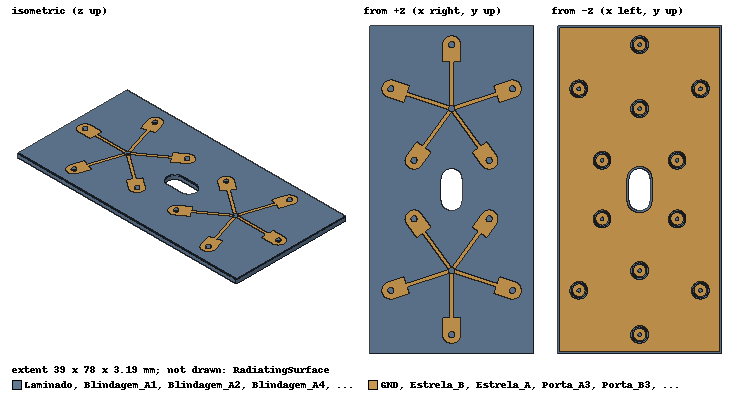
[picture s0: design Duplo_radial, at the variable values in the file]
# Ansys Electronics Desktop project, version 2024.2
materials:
  vacuum: permittivity=1
  ZYF255DA: permittivity=2.55 dielectric_loss_tangent=0.0018
  SAC305: permeability=1 conductivity=7575758
  PTFE_UT141: permittivity=2.036 dielectric_loss_tangent=0.0002
  copper: permeability=0.999991 conductivity=58000000

design Duplo_radial (HFSS, HFSS Hybrid Modal Network, model units mm)
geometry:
  Laminado [ZYF255DA] = box(corner=(-19.5mm, -39mm, 0mm), size=(39mm, 78mm, 1.52mm))
  GND = polyline(z=0mm, xy in mm: (-18.98, -38.48) (18.98, -38.48) (18.98, 38.48) (-18.98, 38.48) (-18.98, -38.48), closed, covered)
  Estrela_B = polyline(z=1.52mm, xy in mm: (-7.87058583, 5.11047264) (-8.12017683, 4.98738798) (-8.38369832, 4.89793449) (-8.65664136, 4.84364274) (-8.93433583, 4.82544169) (-9.21203031, 4.84364274) (-9.48497335, 4.89793449) (-9.74849484, 4.98738798) (-9.99808583, 5.11047264) (-10.22947578, 5.26508245) (-10.43870551, 5.44857201) (-10.62219507, 5.65780175) (-10.77680488, 5.88919169) (-10.89988954, 6.13878268) (-10.98934303, 6.40230417) (-11.04363478, 6.67524721) (-11.06183583, 6.95294169) (-11.04363478, 7.23063616) (-10.98934303, 7.5035792) (-10.89988954, 7.76710069) (-10.77680488, 8.01669169) (-10.65315945, 8.20174014) (-10.65551949, 8.20345481) (-8.33435553, 11.39826292) (-6.96428525, 10.4028486) (-0.78686557, 18.90533735) (-0.7945364, 18.92089225) (-0.83069621, 19.02741562) (-0.83838573, 19.06607343) (-10.83445024, 22.31399168) (-11.35777052, 20.70337747) (-15.1134927, 21.92368558) (-15.1121413, 21.92784478) (-15.27021805, 21.98150461) (-15.51980905, 22.10458927) (-15.75119899, 22.25919908) (-15.96042872, 22.44268864) (-16.14391828, 22.65191837) (-16.29852809, 22.88330831) (-16.42161275, 23.13289931) (-16.51106624, 23.3964208) (-16.56535799, 23.66936384) (-16.58355905, 23.94705831) (-16.56535799, 24.22475279) (-16.51106624, 24.49769583) (-16.42161275, 24.76121732) (-16.29852809, 25.01080831) (-16.14391828, 25.24219825) (-15.96042872, 25.45142799) (-15.75119899, 25.63491755) (-15.51980905, 25.78952736) (-15.27021805, 25.91261202) (-15.00669657, 26.00206551) (-14.73375352, 26.05635726) (-14.45605905, 26.07455831) (-14.17836457, 26.05635726) (-13.90542153, 26.00206551) (-13.7999768, 25.96627185) (-13.79862539, 25.97043105) (-10.04290321, 24.75012294) (-10.56622349, 23.13950873) (-0.56999682, 19.8915378) (-0.52353483, 19.93228387) (-0.434, 19.99210913) (-0.434, 30.501) (-2.1275, 30.501) (-2.1275, 34.45) (-2.10929894, 34.72769447) (-2.0550072, 35.00063752) (-1.96555371, 35.264159) (-1.84246905, 35.51375) (-1.68785923, 35.74513994) (-1.50436968, 35.95436968) (-1.29513994, 36.13785923) (-1.06375, 36.29246905) (-0.814159, 36.41555371) (-0.55063752, 36.5050072) (-0.27769447, 36.55929894) (0, 36.5775) (0.27769447, 36.55929894) (0.55063752, 36.5050072) (0.814159, 36.41555371) (1.06375, 36.29246905) (1.29513994, 36.13785923) (1.50436968, 35.95436968) (1.68785923, 35.74513994) (1.84246905, 35.51375) (1.96555371, 35.264159) (2.0550072, 35.00063752) (2.10929894, 34.72769447) (2.1275, 34.45) (2.1275, 30.501) (0.434, 30.501) (0.434, 19.99210913) (0.52353483, 19.93228387) (0.56999682, 19.8915378) (10.56622349, 23.13950873) (10.04290321, 24.75012294) (13.79862539, 25.97043105) (13.7999768, 25.96627185) (13.90542153, 26.00206551) (14.17836457, 26.05635726) (14.45605905, 26.07455831) (14.73375352, 26.05635726) (15.00669657, 26.00206551) (15.27021805, 25.91261202) (15.51980905, 25.78952736) (15.75119899, 25.63491755) (15.96042872, 25.45142799) (16.14391828, 25.24219825) (16.29852809, 25.01080831) (16.42161275, 24.76121732) (16.51106624, 24.49769583) (16.56535799, 24.22475279) (16.58355905, 23.94705831) (16.56535799, 23.66936384) (16.51106624, 23.3964208) (16.42161275, 23.13289931) (16.29852809, 22.88330831) (16.14391828, 22.65191837) (15.96042872, 22.44268864) (15.75119899, 22.25919908) (15.51980905, 22.10458927) (15.27021805, 21.98150461) (15.1121413, 21.92784478) (15.1134927, 21.92368558) (11.35777052, 20.70337747) (10.83445024, 22.31399168) (0.83838573, 19.06607343) (0.83069621, 19.02741562) (0.7945364, 18.92089225) (0.78686557, 18.90533735) (6.96428525, 10.4028486) (8.33435553, 11.39826292) (10.65551949, 8.20345481) (10.65315945, 8.20174014) (10.77680488, 8.01669169) (10.89988954, 7.76710069) (10.98934303, 7.5035792) (11.04363478, 7.23063616) (11.06183583, 6.95294169) (11.04363478, 6.67524721) (10.98934303, 6.40230417) (10.89988954, 6.13878268) (10.77680488, 5.88919169) (10.62219507, 5.65780175) (10.43870551, 5.44857201) (10.22947578, 5.26508245) (9.99808583, 5.11047264) (9.74849484, 4.98738798) (9.48497335, 4.89793449) (9.21203031, 4.84364274) (8.93433583, 4.82544169) (8.65664136, 4.84364274) (8.38369832, 4.89793449) (8.12017683, 4.98738798) (7.87058583, 5.11047264) (7.63919589, 5.26508245) (7.42996616, 5.44857201) (7.2464766, 5.65780175) (7.21551221, 5.70414323) (7.21315218, 5.70242856) (4.89198822, 8.89723667) (6.2620585, 9.892651) (0.08435603, 18.39552899) (0, 18.39) (-0.08435603, 18.39552899) (-6.2620585, 9.892651) (-4.89198822, 8.89723667) (-7.21315218, 5.70242856) (-7.21551221, 5.70414323) (-7.2464766, 5.65780175) (-7.42996616, 5.44857201) (-7.63919589, 5.26508245) (-7.87058583, 5.11047264), closed, covered)
  Estrela_A = polyline(z=1.52mm, xy in mm: (-0.434, -19.99210913) (-0.52353483, -19.93228387) (-0.56999682, -19.8915378) (-10.56622349, -23.13950873) (-10.04290321, -24.75012294) (-13.79862539, -25.97043105) (-13.7999768, -25.96627185) (-13.90542153, -26.00206551) (-14.17836457, -26.05635726) (-14.45605905, -26.07455831) (-14.73375352, -26.05635726) (-15.00669657, -26.00206551) (-15.27021805, -25.91261202) (-15.51980905, -25.78952736) (-15.75119899, -25.63491755) (-15.96042872, -25.45142799) (-16.14391828, -25.24219825) (-16.29852809, -25.01080831) (-16.42161275, -24.76121732) (-16.51106624, -24.49769583) (-16.56535799, -24.22475279) (-16.58355905, -23.94705831) (-16.56535799, -23.66936384) (-16.51106624, -23.3964208) (-16.42161275, -23.13289931) (-16.29852809, -22.88330831) (-16.14391828, -22.65191837) (-15.96042872, -22.44268864) (-15.75119899, -22.25919908) (-15.51980905, -22.10458927) (-15.27021805, -21.98150461) (-15.1121413, -21.92784478) (-15.1134927, -21.92368558) (-11.35777052, -20.70337747) (-10.83445024, -22.31399168) (-0.83838573, -19.06607343) (-0.83069621, -19.02741562) (-0.7945364, -18.92089225) (-0.78686557, -18.90533735) (-6.96428525, -10.4028486) (-8.33435553, -11.39826292) (-10.65551949, -8.20345481) (-10.65315945, -8.20174014) (-10.77680488, -8.01669169) (-10.89988954, -7.76710069) (-10.98934303, -7.5035792) (-11.04363478, -7.23063616) (-11.06183583, -6.95294169) (-11.04363478, -6.67524721) (-10.98934303, -6.40230417) (-10.89988954, -6.13878268) (-10.77680488, -5.88919169) (-10.62219507, -5.65780175) (-10.43870551, -5.44857201) (-10.22947578, -5.26508245) (-9.99808583, -5.11047264) (-9.74849484, -4.98738798) (-9.48497335, -4.89793449) (-9.21203031, -4.84364274) (-8.93433583, -4.82544169) (-8.65664136, -4.84364274) (-8.38369832, -4.89793449) (-8.12017683, -4.98738798) (-7.87058583, -5.11047264) (-7.63919589, -5.26508245) (-7.42996616, -5.44857201) (-7.2464766, -5.65780175) (-7.21551221, -5.70414323) (-7.21315218, -5.70242856) (-4.89198822, -8.89723667) (-6.2620585, -9.892651) (-0.08435603, -18.39552899) (0, -18.39) (0.08435603, -18.39552899) (6.2620585, -9.892651) (4.89198822, -8.89723667) (7.21315218, -5.70242856) (7.21551221, -5.70414323) (7.2464766, -5.65780175) (7.42996616, -5.44857201) (7.63919589, -5.26508245) (7.87058583, -5.11047264) (8.12017683, -4.98738798) (8.38369832, -4.89793449) (8.65664136, -4.84364274) (8.93433583, -4.82544169) (9.21203031, -4.84364274) (9.48497335, -4.89793449) (9.74849484, -4.98738798) (9.99808583, -5.11047264) (10.22947578, -5.26508245) (10.43870551, -5.44857201) (10.62219507, -5.65780175) (10.77680488, -5.88919169) (10.89988954, -6.13878268) (10.98934303, -6.40230417) (11.04363478, -6.67524721) (11.06183583, -6.95294169) (11.04363478, -7.23063616) (10.98934303, -7.5035792) (10.89988954, -7.76710069) (10.77680488, -8.01669169) (10.65315945, -8.20174014) (10.65551949, -8.20345481) (8.33435553, -11.39826292) (6.96428525, -10.4028486) (0.78686557, -18.90533735) (0.7945364, -18.92089225) (0.83069621, -19.02741562) (0.83838573, -19.06607343) (10.83445024, -22.31399168) (11.35777052, -20.70337747) (15.1134927, -21.92368558) (15.1121413, -21.92784478) (15.27021805, -21.98150461) (15.51980905, -22.10458927) (15.75119899, -22.25919908) (15.96042872, -22.44268864) (16.14391828, -22.65191837) (16.29852809, -22.88330831) (16.42161275, -23.13289931) (16.51106624, -23.3964208) (16.56535799, -23.66936384) (16.58355905, -23.94705831) (16.56535799, -24.22475279) (16.51106624, -24.49769583) (16.42161275, -24.76121732) (16.29852809, -25.01080831) (16.14391828, -25.24219825) (15.96042872, -25.45142799) (15.75119899, -25.63491755) (15.51980905, -25.78952736) (15.27021805, -25.91261202) (15.00669657, -26.00206551) (14.73375352, -26.05635726) (14.45605905, -26.07455831) (14.17836457, -26.05635726) (13.90542153, -26.00206551) (13.7999768, -25.96627185) (13.79862539, -25.97043105) (10.04290321, -24.75012294) (10.56622349, -23.13950873) (0.56999682, -19.8915378) (0.52353483, -19.93228387) (0.434, -19.99210913) (0.434, -30.501) (2.1275, -30.501) (2.1275, -34.45) (2.10929894, -34.72769447) (2.0550072, -35.00063752) (1.96555371, -35.264159) (1.84246905, -35.51375) (1.68785923, -35.74513994) (1.50436968, -35.95436968) (1.29513994, -36.13785923) (1.06375, -36.29246905) (0.814159, -36.41555371) (0.55063752, -36.5050072) (0.27769447, -36.55929894) (0, -36.5775) (-0.27769447, -36.55929894) (-0.55063752, -36.5050072) (-0.814159, -36.41555371) (-1.06375, -36.29246905) (-1.29513994, -36.13785923) (-1.50436968, -35.95436968) (-1.68785923, -35.74513994) (-1.84246905, -35.51375) (-1.96555371, -35.264159) (-2.0550072, -35.00063752) (-2.10929894, -34.72769447) (-2.1275, -34.45) (-2.1275, -30.501) (-0.434, -30.501) (-0.434, -19.99210913), closed, covered)
  Abertura_A_IN = circle(normal=Z, centre=(0mm, -19.25mm, 0mm), radius=1.515mm, segments=24)
  Pino_A_IN [copper] = cylinder(axis=Z, base_centre=(0mm, -19.25mm, 0mm), radius=0.525mm, height=1.52mm, segments=24)
  Anel_A_IN = circle(normal=Z, centre=(0mm, -19.25mm, 0mm), radius=0.73mm, segments=24)
  Blindagem_A_IN [copper] = cylinder(axis=Z, base_centre=(0mm, -19.25mm, -1.5mm), radius=1.7905mm, height=1.5mm, segments=24)
  PTFE_A_IN [PTFE_UT141] = cylinder(axis=Z, base_centre=(0mm, -19.25mm, -1.5mm), radius=1.515mm, height=1.5mm, segments=24)
  PTFE_A_IN_1 = PTFE_A_IN.copy()
  Blindagem_A_IN.subtract(PTFE_A_IN_1)
  Central_A_IN [copper] = cylinder(axis=Z, base_centre=(0mm, -19.25mm, -1.5mm), radius=0.45975mm, height=1.5mm, segments=24)
  Central_A_IN_1 = Central_A_IN.copy()
  PTFE_A_IN.subtract(Central_A_IN_1)
  Solda_ext_A_IN [SAC305] = cylinder(axis=Z, base_centre=(0mm, -19.25mm, -0.18mm), radius=2.13mm, height=0.18mm, segments=24)
  Recorte_ext_A_IN = cylinder(axis=Z, base_centre=(0mm, -19.25mm, -0.18mm), radius=1.7905mm, height=0.18mm, segments=24)
  Solda_ext_A_IN.subtract(Recorte_ext_A_IN)
  Solda_top_A_IN [SAC305] = cylinder(axis=Z, base_centre=(0mm, -19.25mm, 1.52mm), radius=0.74mm, height=0.17mm, segments=24)
  Abertura_A1 = circle(normal=Z, centre=(-14.45605905mm, -23.94705831mm, 0mm), radius=1.515mm, segments=24)
  Pino_A1 [copper] = cylinder(axis=Z, base_centre=(-14.45605905mm, -23.94705831mm, 0mm), radius=0.525mm, height=1.52mm, segments=24)
  Anel_A1 = circle(normal=Z, centre=(-14.45605905mm, -23.94705831mm, 0mm), radius=0.73mm, segments=24)
  Blindagem_A1 [copper] = cylinder(axis=Z, base_centre=(-14.45605905mm, -23.94705831mm, -1.5mm), radius=1.7905mm, height=1.5mm, segments=24)
  PTFE_A1 [PTFE_UT141] = cylinder(axis=Z, base_centre=(-14.45605905mm, -23.94705831mm, -1.5mm), radius=1.515mm, height=1.5mm, segments=24)
  PTFE_A1_1 = PTFE_A1.copy()
  Blindagem_A1.subtract(PTFE_A1_1)
  Central_A1 [copper] = cylinder(axis=Z, base_centre=(-14.45605905mm, -23.94705831mm, -1.5mm), radius=0.45975mm, height=1.5mm, segments=24)
  Central_A1_1 = Central_A1.copy()
  PTFE_A1.subtract(Central_A1_1)
  Solda_ext_A1 [SAC305] = cylinder(axis=Z, base_centre=(-14.45605905mm, -23.94705831mm, -0.18mm), radius=2.13mm, height=0.18mm, segments=24)
  Recorte_ext_A1 = cylinder(axis=Z, base_centre=(-14.45605905mm, -23.94705831mm, -0.18mm), radius=1.7905mm, height=0.18mm, segments=24)
  Solda_ext_A1.subtract(Recorte_ext_A1)
  Solda_top_A1 [SAC305] = cylinder(axis=Z, base_centre=(-14.45605905mm, -23.94705831mm, 1.52mm), radius=0.74mm, height=0.17mm, segments=24)
  Abertura_A2 = circle(normal=Z, centre=(-8.93433583mm, -6.95294169mm, 0mm), radius=1.515mm, segments=24)
  Pino_A2 [copper] = cylinder(axis=Z, base_centre=(-8.93433583mm, -6.95294169mm, 0mm), radius=0.525mm, height=1.52mm, segments=24)
  Anel_A2 = circle(normal=Z, centre=(-8.93433583mm, -6.95294169mm, 0mm), radius=0.73mm, segments=24)
  Blindagem_A2 [copper] = cylinder(axis=Z, base_centre=(-8.93433583mm, -6.95294169mm, -1.5mm), radius=1.7905mm, height=1.5mm, segments=24)
  PTFE_A2 [PTFE_UT141] = cylinder(axis=Z, base_centre=(-8.93433583mm, -6.95294169mm, -1.5mm), radius=1.515mm, height=1.5mm, segments=24)
  PTFE_A2_1 = PTFE_A2.copy()
  Blindagem_A2.subtract(PTFE_A2_1)
  Central_A2 [copper] = cylinder(axis=Z, base_centre=(-8.93433583mm, -6.95294169mm, -1.5mm), radius=0.45975mm, height=1.5mm, segments=24)
  Central_A2_1 = Central_A2.copy()
  PTFE_A2.subtract(Central_A2_1)
  Solda_ext_A2 [SAC305] = cylinder(axis=Z, base_centre=(-8.93433583mm, -6.95294169mm, -0.18mm), radius=2.13mm, height=0.18mm, segments=24)
  Recorte_ext_A2 = cylinder(axis=Z, base_centre=(-8.93433583mm, -6.95294169mm, -0.18mm), radius=1.7905mm, height=0.18mm, segments=24)
  Solda_ext_A2.subtract(Recorte_ext_A2)
  Solda_top_A2 [SAC305] = cylinder(axis=Z, base_centre=(-8.93433583mm, -6.95294169mm, 1.52mm), radius=0.74mm, height=0.17mm, segments=24)
  Abertura_A3 = circle(normal=Z, centre=(0mm, -34.45mm, 0mm), radius=1.515mm, segments=24)
  Pino_A3 [copper] = cylinder(axis=Z, base_centre=(0mm, -34.45mm, 0mm), radius=0.525mm, height=1.52mm, segments=24)
  Anel_A3 = circle(normal=Z, centre=(0mm, -34.45mm, 0mm), radius=0.73mm, segments=24)
  Blindagem_A3 [copper] = cylinder(axis=Z, base_centre=(0mm, -34.45mm, -1.5mm), radius=1.7905mm, height=1.5mm, segments=24)
  PTFE_A3 [PTFE_UT141] = cylinder(axis=Z, base_centre=(0mm, -34.45mm, -1.5mm), radius=1.515mm, height=1.5mm, segments=24)
  PTFE_A3_1 = PTFE_A3.copy()
  Blindagem_A3.subtract(PTFE_A3_1)
  Central_A3 [copper] = cylinder(axis=Z, base_centre=(0mm, -34.45mm, -1.5mm), radius=0.45975mm, height=1.5mm, segments=24)
  Central_A3_1 = Central_A3.copy()
  PTFE_A3.subtract(Central_A3_1)
  Solda_ext_A3 [SAC305] = cylinder(axis=Z, base_centre=(0mm, -34.45mm, -0.18mm), radius=2.13mm, height=0.18mm, segments=24)
  Recorte_ext_A3 = cylinder(axis=Z, base_centre=(0mm, -34.45mm, -0.18mm), radius=1.7905mm, height=0.18mm, segments=24)
  Solda_ext_A3.subtract(Recorte_ext_A3)
  Solda_top_A3 [SAC305] = cylinder(axis=Z, base_centre=(0mm, -34.45mm, 1.52mm), radius=0.74mm, height=0.17mm, segments=24)
  Abertura_A4 = circle(normal=Z, centre=(8.93433583mm, -6.95294169mm, 0mm), radius=1.515mm, segments=24)
  Pino_A4 [copper] = cylinder(axis=Z, base_centre=(8.93433583mm, -6.95294169mm, 0mm), radius=0.525mm, height=1.52mm, segments=24)
  Anel_A4 = circle(normal=Z, centre=(8.93433583mm, -6.95294169mm, 0mm), radius=0.73mm, segments=24)
  Blindagem_A4 [copper] = cylinder(axis=Z, base_centre=(8.93433583mm, -6.95294169mm, -1.5mm), radius=1.7905mm, height=1.5mm, segments=24)
  PTFE_A4 [PTFE_UT141] = cylinder(axis=Z, base_centre=(8.93433583mm, -6.95294169mm, -1.5mm), radius=1.515mm, height=1.5mm, segments=24)
  PTFE_A4_1 = PTFE_A4.copy()
  Blindagem_A4.subtract(PTFE_A4_1)
  Central_A4 [copper] = cylinder(axis=Z, base_centre=(8.93433583mm, -6.95294169mm, -1.5mm), radius=0.45975mm, height=1.5mm, segments=24)
  Central_A4_1 = Central_A4.copy()
  PTFE_A4.subtract(Central_A4_1)
  Solda_ext_A4 [SAC305] = cylinder(axis=Z, base_centre=(8.93433583mm, -6.95294169mm, -0.18mm), radius=2.13mm, height=0.18mm, segments=24)
  Recorte_ext_A4 = cylinder(axis=Z, base_centre=(8.93433583mm, -6.95294169mm, -0.18mm), radius=1.7905mm, height=0.18mm, segments=24)
  Solda_ext_A4.subtract(Recorte_ext_A4)
  Solda_top_A4 [SAC305] = cylinder(axis=Z, base_centre=(8.93433583mm, -6.95294169mm, 1.52mm), radius=0.74mm, height=0.17mm, segments=24)
  Abertura_A5 = circle(normal=Z, centre=(14.45605905mm, -23.94705831mm, 0mm), radius=1.515mm, segments=24)
  Pino_A5 [copper] = cylinder(axis=Z, base_centre=(14.45605905mm, -23.94705831mm, 0mm), radius=0.525mm, height=1.52mm, segments=24)
  Anel_A5 = circle(normal=Z, centre=(14.45605905mm, -23.94705831mm, 0mm), radius=0.73mm, segments=24)
  Blindagem_A5 [copper] = cylinder(axis=Z, base_centre=(14.45605905mm, -23.94705831mm, -1.5mm), radius=1.7905mm, height=1.5mm, segments=24)
  PTFE_A5 [PTFE_UT141] = cylinder(axis=Z, base_centre=(14.45605905mm, -23.94705831mm, -1.5mm), radius=1.515mm, height=1.5mm, segments=24)
  PTFE_A5_1 = PTFE_A5.copy()
  Blindagem_A5.subtract(PTFE_A5_1)
  Central_A5 [copper] = cylinder(axis=Z, base_centre=(14.45605905mm, -23.94705831mm, -1.5mm), radius=0.45975mm, height=1.5mm, segments=24)
  Central_A5_1 = Central_A5.copy()
  PTFE_A5.subtract(Central_A5_1)
  Solda_ext_A5 [SAC305] = cylinder(axis=Z, base_centre=(14.45605905mm, -23.94705831mm, -0.18mm), radius=2.13mm, height=0.18mm, segments=24)
  Recorte_ext_A5 = cylinder(axis=Z, base_centre=(14.45605905mm, -23.94705831mm, -0.18mm), radius=1.7905mm, height=0.18mm, segments=24)
  Solda_ext_A5.subtract(Recorte_ext_A5)
  Solda_top_A5 [SAC305] = cylinder(axis=Z, base_centre=(14.45605905mm, -23.94705831mm, 1.52mm), radius=0.74mm, height=0.17mm, segments=24)
  Abertura_B_IN = circle(normal=Z, centre=(0mm, 19.25mm, 0mm), radius=1.515mm, segments=24)
  Pino_B_IN [copper] = cylinder(axis=Z, base_centre=(0mm, 19.25mm, 0mm), radius=0.525mm, height=1.52mm, segments=24)
  Anel_B_IN = circle(normal=Z, centre=(0mm, 19.25mm, 0mm), radius=0.73mm, segments=24)
  Blindagem_B_IN [copper] = cylinder(axis=Z, base_centre=(0mm, 19.25mm, -1.5mm), radius=1.7905mm, height=1.5mm, segments=24)
  PTFE_B_IN [PTFE_UT141] = cylinder(axis=Z, base_centre=(0mm, 19.25mm, -1.5mm), radius=1.515mm, height=1.5mm, segments=24)
  PTFE_B_IN_1 = PTFE_B_IN.copy()
  Blindagem_B_IN.subtract(PTFE_B_IN_1)
  Central_B_IN [copper] = cylinder(axis=Z, base_centre=(0mm, 19.25mm, -1.5mm), radius=0.45975mm, height=1.5mm, segments=24)
  Central_B_IN_1 = Central_B_IN.copy()
  PTFE_B_IN.subtract(Central_B_IN_1)
  Solda_ext_B_IN [SAC305] = cylinder(axis=Z, base_centre=(0mm, 19.25mm, -0.18mm), radius=2.13mm, height=0.18mm, segments=24)
  Recorte_ext_B_IN = cylinder(axis=Z, base_centre=(0mm, 19.25mm, -0.18mm), radius=1.7905mm, height=0.18mm, segments=24)
  Solda_ext_B_IN.subtract(Recorte_ext_B_IN)
  Solda_top_B_IN [SAC305] = cylinder(axis=Z, base_centre=(0mm, 19.25mm, 1.52mm), radius=0.74mm, height=0.17mm, segments=24)
  Abertura_B1 = circle(normal=Z, centre=(-14.45605905mm, 23.94705831mm, 0mm), radius=1.515mm, segments=24)
  Pino_B1 [copper] = cylinder(axis=Z, base_centre=(-14.45605905mm, 23.94705831mm, 0mm), radius=0.525mm, height=1.52mm, segments=24)
  Anel_B1 = circle(normal=Z, centre=(-14.45605905mm, 23.94705831mm, 0mm), radius=0.73mm, segments=24)
  Blindagem_B1 [copper] = cylinder(axis=Z, base_centre=(-14.45605905mm, 23.94705831mm, -1.5mm), radius=1.7905mm, height=1.5mm, segments=24)
  PTFE_B1 [PTFE_UT141] = cylinder(axis=Z, base_centre=(-14.45605905mm, 23.94705831mm, -1.5mm), radius=1.515mm, height=1.5mm, segments=24)
  PTFE_B1_1 = PTFE_B1.copy()
  Blindagem_B1.subtract(PTFE_B1_1)
  Central_B1 [copper] = cylinder(axis=Z, base_centre=(-14.45605905mm, 23.94705831mm, -1.5mm), radius=0.45975mm, height=1.5mm, segments=24)
  Central_B1_1 = Central_B1.copy()
  PTFE_B1.subtract(Central_B1_1)
  Solda_ext_B1 [SAC305] = cylinder(axis=Z, base_centre=(-14.45605905mm, 23.94705831mm, -0.18mm), radius=2.13mm, height=0.18mm, segments=24)
  Recorte_ext_B1 = cylinder(axis=Z, base_centre=(-14.45605905mm, 23.94705831mm, -0.18mm), radius=1.7905mm, height=0.18mm, segments=24)
  Solda_ext_B1.subtract(Recorte_ext_B1)
  Solda_top_B1 [SAC305] = cylinder(axis=Z, base_centre=(-14.45605905mm, 23.94705831mm, 1.52mm), radius=0.74mm, height=0.17mm, segments=24)
  Abertura_B2 = circle(normal=Z, centre=(-8.93433583mm, 6.95294169mm, 0mm), radius=1.515mm, segments=24)
  Pino_B2 [copper] = cylinder(axis=Z, base_centre=(-8.93433583mm, 6.95294169mm, 0mm), radius=0.525mm, height=1.52mm, segments=24)
  Anel_B2 = circle(normal=Z, centre=(-8.93433583mm, 6.95294169mm, 0mm), radius=0.73mm, segments=24)
  Blindagem_B2 [copper] = cylinder(axis=Z, base_centre=(-8.93433583mm, 6.95294169mm, -1.5mm), radius=1.7905mm, height=1.5mm, segments=24)
  PTFE_B2 [PTFE_UT141] = cylinder(axis=Z, base_centre=(-8.93433583mm, 6.95294169mm, -1.5mm), radius=1.515mm, height=1.5mm, segments=24)
  PTFE_B2_1 = PTFE_B2.copy()
  Blindagem_B2.subtract(PTFE_B2_1)
  Central_B2 [copper] = cylinder(axis=Z, base_centre=(-8.93433583mm, 6.95294169mm, -1.5mm), radius=0.45975mm, height=1.5mm, segments=24)
  Central_B2_1 = Central_B2.copy()
  PTFE_B2.subtract(Central_B2_1)
  Solda_ext_B2 [SAC305] = cylinder(axis=Z, base_centre=(-8.93433583mm, 6.95294169mm, -0.18mm), radius=2.13mm, height=0.18mm, segments=24)
  Recorte_ext_B2 = cylinder(axis=Z, base_centre=(-8.93433583mm, 6.95294169mm, -0.18mm), radius=1.7905mm, height=0.18mm, segments=24)
  Solda_ext_B2.subtract(Recorte_ext_B2)
  Solda_top_B2 [SAC305] = cylinder(axis=Z, base_centre=(-8.93433583mm, 6.95294169mm, 1.52mm), radius=0.74mm, height=0.17mm, segments=24)
  Abertura_B3 = circle(normal=Z, centre=(0mm, 34.45mm, 0mm), radius=1.515mm, segments=24)
  Pino_B3 [copper] = cylinder(axis=Z, base_centre=(0mm, 34.45mm, 0mm), radius=0.525mm, height=1.52mm, segments=24)
  Anel_B3 = circle(normal=Z, centre=(0mm, 34.45mm, 0mm), radius=0.73mm, segments=24)
  Blindagem_B3 [copper] = cylinder(axis=Z, base_centre=(0mm, 34.45mm, -1.5mm), radius=1.7905mm, height=1.5mm, segments=24)
  PTFE_B3 [PTFE_UT141] = cylinder(axis=Z, base_centre=(0mm, 34.45mm, -1.5mm), radius=1.515mm, height=1.5mm, segments=24)
  PTFE_B3_1 = PTFE_B3.copy()
  Blindagem_B3.subtract(PTFE_B3_1)
  Central_B3 [copper] = cylinder(axis=Z, base_centre=(0mm, 34.45mm, -1.5mm), radius=0.45975mm, height=1.5mm, segments=24)
  Central_B3_1 = Central_B3.copy()
  PTFE_B3.subtract(Central_B3_1)
  Solda_ext_B3 [SAC305] = cylinder(axis=Z, base_centre=(0mm, 34.45mm, -0.18mm), radius=2.13mm, height=0.18mm, segments=24)
  Recorte_ext_B3 = cylinder(axis=Z, base_centre=(0mm, 34.45mm, -0.18mm), radius=1.7905mm, height=0.18mm, segments=24)
  Solda_ext_B3.subtract(Recorte_ext_B3)
  Solda_top_B3 [SAC305] = cylinder(axis=Z, base_centre=(0mm, 34.45mm, 1.52mm), radius=0.74mm, height=0.17mm, segments=24)
  Abertura_B4 = circle(normal=Z, centre=(8.93433583mm, 6.95294169mm, 0mm), radius=1.515mm, segments=24)
  Pino_B4 [copper] = cylinder(axis=Z, base_centre=(8.93433583mm, 6.95294169mm, 0mm), radius=0.525mm, height=1.52mm, segments=24)
  Anel_B4 = circle(normal=Z, centre=(8.93433583mm, 6.95294169mm, 0mm), radius=0.73mm, segments=24)
  Blindagem_B4 [copper] = cylinder(axis=Z, base_centre=(8.93433583mm, 6.95294169mm, -1.5mm), radius=1.7905mm, height=1.5mm, segments=24)
  PTFE_B4 [PTFE_UT141] = cylinder(axis=Z, base_centre=(8.93433583mm, 6.95294169mm, -1.5mm), radius=1.515mm, height=1.5mm, segments=24)
  PTFE_B4_1 = PTFE_B4.copy()
  Blindagem_B4.subtract(PTFE_B4_1)
  Central_B4 [copper] = cylinder(axis=Z, base_centre=(8.93433583mm, 6.95294169mm, -1.5mm), radius=0.45975mm, height=1.5mm, segments=24)
  Central_B4_1 = Central_B4.copy()
  PTFE_B4.subtract(Central_B4_1)
  Solda_ext_B4 [SAC305] = cylinder(axis=Z, base_centre=(8.93433583mm, 6.95294169mm, -0.18mm), radius=2.13mm, height=0.18mm, segments=24)
  Recorte_ext_B4 = cylinder(axis=Z, base_centre=(8.93433583mm, 6.95294169mm, -0.18mm), radius=1.7905mm, height=0.18mm, segments=24)
  Solda_ext_B4.subtract(Recorte_ext_B4)
  Solda_top_B4 [SAC305] = cylinder(axis=Z, base_centre=(8.93433583mm, 6.95294169mm, 1.52mm), radius=0.74mm, height=0.17mm, segments=24)
  Abertura_B5 = circle(normal=Z, centre=(14.45605905mm, 23.94705831mm, 0mm), radius=1.515mm, segments=24)
  Pino_B5 [copper] = cylinder(axis=Z, base_centre=(14.45605905mm, 23.94705831mm, 0mm), radius=0.525mm, height=1.52mm, segments=24)
  Anel_B5 = circle(normal=Z, centre=(14.45605905mm, 23.94705831mm, 0mm), radius=0.73mm, segments=24)
  Blindagem_B5 [copper] = cylinder(axis=Z, base_centre=(14.45605905mm, 23.94705831mm, -1.5mm), radius=1.7905mm, height=1.5mm, segments=24)
  PTFE_B5 [PTFE_UT141] = cylinder(axis=Z, base_centre=(14.45605905mm, 23.94705831mm, -1.5mm), radius=1.515mm, height=1.5mm, segments=24)
  PTFE_B5_1 = PTFE_B5.copy()
  Blindagem_B5.subtract(PTFE_B5_1)
  Central_B5 [copper] = cylinder(axis=Z, base_centre=(14.45605905mm, 23.94705831mm, -1.5mm), radius=0.45975mm, height=1.5mm, segments=24)
  Central_B5_1 = Central_B5.copy()
  PTFE_B5.subtract(Central_B5_1)
  Solda_ext_B5 [SAC305] = cylinder(axis=Z, base_centre=(14.45605905mm, 23.94705831mm, -0.18mm), radius=2.13mm, height=0.18mm, segments=24)
  Recorte_ext_B5 = cylinder(axis=Z, base_centre=(14.45605905mm, 23.94705831mm, -0.18mm), radius=1.7905mm, height=0.18mm, segments=24)
  Solda_ext_B5.subtract(Recorte_ext_B5)
  Solda_top_B5 [SAC305] = cylinder(axis=Z, base_centre=(14.45605905mm, 23.94705831mm, 1.52mm), radius=0.74mm, height=0.17mm, segments=24)
  GND.subtract(Abertura_A_IN, Abertura_A1..Abertura_A5, Abertura_B_IN, Abertura_B1..Abertura_B5)
  Pino_A_IN_1 = Pino_A_IN.copy()
  Pino_A1_1 = Pino_A1.copy()
  Pino_A2_1 = Pino_A2.copy()
  Pino_A3_1 = Pino_A3.copy()
  Pino_A4_1 = Pino_A4.copy()
  Pino_A5_1 = Pino_A5.copy()
  Pino_B_IN_1 = Pino_B_IN.copy()
  Pino_B1_1 = Pino_B1.copy()
  Pino_B2_1 = Pino_B2.copy()
  Pino_B3_1 = Pino_B3.copy()
  Pino_B4_1 = Pino_B4.copy()
  Pino_B5_1 = Pino_B5.copy()
  Laminado.subtract(Pino_A_IN_1, Pino_A1_1, Pino_A2_1, Pino_A3_1, Pino_A4_1, Pino_A5_1, Pino_B_IN_1, Pino_B1_1, Pino_B2_1, Pino_B3_1, Pino_B4_1, Pino_B5_1)
  Canal_mecanico = polyline(z=0mm, xy in mm: (-2.5, 2.50916841) (-2.48796182, 2.75421126) (-2.4519632, 2.99689422) (-2.39235084, 3.23488011) (-2.30969883, 3.46587699) (-2.20480316, 3.68766026) (-2.07867403, 3.898094) (-1.93252613, 4.09515162) (-1.76776695, 4.27693537) (-1.58598321, 4.44169455) (-1.38892558, 4.58784244) (-1.17849184, 4.71397157) (-0.95670858, 4.81886724) (-0.72571169, 4.90151925) (-0.48772581, 4.96113161) (-0.24504285, 4.99713023) (0, 5.00916841) (0.24504285, 4.99713023) (0.48772581, 4.96113161) (0.72571169, 4.90151925) (0.95670858, 4.81886724) (1.17849184, 4.71397157) (1.38892558, 4.58784244) (1.58598321, 4.44169455) (1.76776695, 4.27693537) (1.93252613, 4.09515162) (2.07867403, 3.898094) (2.20480316, 3.68766026) (2.30969883, 3.46587699) (2.39235084, 3.23488011) (2.4519632, 2.99689422) (2.48796182, 2.75421126) (2.5, 2.50916841) (2.5, -2.50916841) (2.48796182, -2.75421126) (2.4519632, -2.99689422) (2.39235084, -3.23488011) (2.30969883, -3.46587699) (2.20480316, -3.68766026) (2.07867403, -3.898094) (1.93252613, -4.09515162) (1.76776695, -4.27693537) (1.58598321, -4.44169455) (1.38892558, -4.58784244) (1.17849184, -4.71397157) (0.95670858, -4.81886724) (0.72571169, -4.90151925) (0.48772581, -4.96113161) (0.24504285, -4.99713023) (0, -5.00916841) (-0.24504285, -4.99713023) (-0.48772581, -4.96113161) (-0.72571169, -4.90151925) (-0.95670858, -4.81886724) (-1.17849184, -4.71397157) (-1.38892558, -4.58784244) (-1.58598321, -4.44169455) (-1.76776695, -4.27693537) (-1.93252613, -4.09515162) (-2.07867403, -3.898094) (-2.20480316, -3.68766026) (-2.30969883, -3.46587699) (-2.39235084, -3.23488011) (-2.4519632, -2.99689422) (-2.48796182, -2.75421126) (-2.5, -2.50916841) (-2.5, 2.50916841), closed, covered)
  Canal_mecanico.sweep_along_vector((0mm, 0mm, 1.52mm))
  Laminado.subtract(Canal_mecanico)
  Folga_massa = polyline(z=0mm, xy in mm: (-3, 2.50916841) (-2.98555418, 2.80321983) (-2.94235584, 3.09443938) (-2.87082101, 3.38002244) (-2.7716386, 3.65721871) (-2.64576379, 3.92335862) (-2.49440884, 4.17587911) (-2.31903136, 4.41234827) (-2.12132034, 4.63048876) (-1.90317985, 4.82819977) (-1.6667107, 5.00357725) (-1.41419021, 5.15493221) (-1.1480503, 5.28080701) (-0.87085403, 5.37998942) (-0.58527097, 5.45152425) (-0.29405142, 5.49472259) (0, 5.50916841) (0.29405142, 5.49472259) (0.58527097, 5.45152425) (0.87085403, 5.37998942) (1.1480503, 5.28080701) (1.41419021, 5.15493221) (1.6667107, 5.00357725) (1.90317985, 4.82819977) (2.12132034, 4.63048876) (2.31903136, 4.41234827) (2.49440884, 4.17587911) (2.64576379, 3.92335862) (2.7716386, 3.65721871) (2.87082101, 3.38002244) (2.94235584, 3.09443938) (2.98555418, 2.80321983) (3, 2.50916841) (3, -2.50916841) (2.98555418, -2.80321983) (2.94235584, -3.09443938) (2.87082101, -3.38002244) (2.7716386, -3.65721871) (2.64576379, -3.92335862) (2.49440884, -4.17587911) (2.31903136, -4.41234827) (2.12132034, -4.63048876) (1.90317985, -4.82819977) (1.6667107, -5.00357725) (1.41419021, -5.15493221) (1.1480503, -5.28080701) (0.87085403, -5.37998942) (0.58527097, -5.45152425) (0.29405142, -5.49472259) (0, -5.50916841) (-0.29405142, -5.49472259) (-0.58527097, -5.45152425) (-0.87085403, -5.37998942) (-1.1480503, -5.28080701) (-1.41419021, -5.15493221) (-1.6667107, -5.00357725) (-1.90317985, -4.82819977) (-2.12132034, -4.63048876) (-2.31903136, -4.41234827) (-2.49440884, -4.17587911) (-2.64576379, -3.92335862) (-2.7716386, -3.65721871) (-2.87082101, -3.38002244) (-2.94235584, -3.09443938) (-2.98555418, -2.80321983) (-3, -2.50916841) (-3, 2.50916841), closed, covered)
  GND.subtract(Folga_massa)
  Porta_A_IN = circle(normal=Z, centre=(0mm, -19.25mm, -1.5mm), radius=1.515mm, segments=24)
  Buraco_A_IN = circle(normal=Z, centre=(0mm, -19.25mm, -1.5mm), radius=0.45975mm, segments=24)
  Porta_A_IN.subtract(Buraco_A_IN)
  Porta_A1 = circle(normal=Z, centre=(-14.45605905mm, -23.94705831mm, -1.5mm), radius=1.515mm, segments=24)
  Buraco_A1 = circle(normal=Z, centre=(-14.45605905mm, -23.94705831mm, -1.5mm), radius=0.45975mm, segments=24)
  Porta_A1.subtract(Buraco_A1)
  Porta_A2 = circle(normal=Z, centre=(-8.93433583mm, -6.95294169mm, -1.5mm), radius=1.515mm, segments=24)
  Buraco_A2 = circle(normal=Z, centre=(-8.93433583mm, -6.95294169mm, -1.5mm), radius=0.45975mm, segments=24)
  Porta_A2.subtract(Buraco_A2)
  Porta_A3 = circle(normal=Z, centre=(0mm, -34.45mm, -1.5mm), radius=1.515mm, segments=24)
  Buraco_A3 = circle(normal=Z, centre=(0mm, -34.45mm, -1.5mm), radius=0.45975mm, segments=24)
  Porta_A3.subtract(Buraco_A3)
  Porta_A4 = circle(normal=Z, centre=(8.93433583mm, -6.95294169mm, -1.5mm), radius=1.515mm, segments=24)
  Buraco_A4 = circle(normal=Z, centre=(8.93433583mm, -6.95294169mm, -1.5mm), radius=0.45975mm, segments=24)
  Porta_A4.subtract(Buraco_A4)
  Porta_A5 = circle(normal=Z, centre=(14.45605905mm, -23.94705831mm, -1.5mm), radius=1.515mm, segments=24)
  Buraco_A5 = circle(normal=Z, centre=(14.45605905mm, -23.94705831mm, -1.5mm), radius=0.45975mm, segments=24)
  Porta_A5.subtract(Buraco_A5)
  Porta_B_IN = circle(normal=Z, centre=(0mm, 19.25mm, -1.5mm), radius=1.515mm, segments=24)
  Buraco_B_IN = circle(normal=Z, centre=(0mm, 19.25mm, -1.5mm), radius=0.45975mm, segments=24)
  Porta_B_IN.subtract(Buraco_B_IN)
  Porta_B1 = circle(normal=Z, centre=(-14.45605905mm, 23.94705831mm, -1.5mm), radius=1.515mm, segments=24)
  Buraco_B1 = circle(normal=Z, centre=(-14.45605905mm, 23.94705831mm, -1.5mm), radius=0.45975mm, segments=24)
  Porta_B1.subtract(Buraco_B1)
  Porta_B2 = circle(normal=Z, centre=(-8.93433583mm, 6.95294169mm, -1.5mm), radius=1.515mm, segments=24)
  Buraco_B2 = circle(normal=Z, centre=(-8.93433583mm, 6.95294169mm, -1.5mm), radius=0.45975mm, segments=24)
  Porta_B2.subtract(Buraco_B2)
  Porta_B3 = circle(normal=Z, centre=(0mm, 34.45mm, -1.5mm), radius=1.515mm, segments=24)
  Buraco_B3 = circle(normal=Z, centre=(0mm, 34.45mm, -1.5mm), radius=0.45975mm, segments=24)
  Porta_B3.subtract(Buraco_B3)
  Porta_B4 = circle(normal=Z, centre=(8.93433583mm, 6.95294169mm, -1.5mm), radius=1.515mm, segments=24)
  Buraco_B4 = circle(normal=Z, centre=(8.93433583mm, 6.95294169mm, -1.5mm), radius=0.45975mm, segments=24)
  Porta_B4.subtract(Buraco_B4)
  Porta_B5 = circle(normal=Z, centre=(14.45605905mm, 23.94705831mm, -1.5mm), radius=1.515mm, segments=24)
  Buraco_B5 = circle(normal=Z, centre=(14.45605905mm, 23.94705831mm, -1.5mm), radius=0.45975mm, segments=24)
  Porta_B5.subtract(Buraco_B5)
  RadiatingSurface [vacuum] = region(absolute_offset=19.646365mm on all sides)
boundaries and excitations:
  Cobre_35um: Finite Conductivity Objects=[GND, Estrela_B, Estrela_A, Anel_A_IN, Anel_A1..Anel_A5, Anel_B_IN, Anel_B1..Anel_B5] UseMaterial Material=copper Thickness=0.035mm Roughness=0.5um IsInternal
  Open1: Radiation Objects=RadiatingSurface
  A_IN: Lumped Port Objects=Porta_A_IN LumpedPortType=Modal Modes{Mode1{IntLine{(0.45975, -19.25, -1.5) -> (1.515, -19.25, -1.5)} CharImp=Zpi RenormImp=50ohm}} Impedance=50ohm
  A1: Lumped Port Objects=Porta_A1 LumpedPortType=Modal Modes{Mode1{IntLine{(-13.99630905, -23.94705831, -1.5) -> (-12.94105905, -23.94705831, -1.5)} CharImp=Zpi RenormImp=50ohm}} Impedance=50ohm
  A2: Lumped Port Objects=Porta_A2 LumpedPortType=Modal Modes{Mode1{IntLine{(-8.47458583, -6.95294169, -1.5) -> (-7.41933583, -6.95294169, -1.5)} CharImp=Zpi RenormImp=50ohm}} Impedance=50ohm
  A3: Lumped Port Objects=Porta_A3 LumpedPortType=Modal Modes{Mode1{IntLine{(0.45975, -34.45, -1.5) -> (1.515, -34.45, -1.5)} CharImp=Zpi RenormImp=50ohm}} Impedance=50ohm
  A4: Lumped Port Objects=Porta_A4 LumpedPortType=Modal Modes{Mode1{IntLine{(9.39408583, -6.95294169, -1.5) -> (10.44933583, -6.95294169, -1.5)} CharImp=Zpi RenormImp=50ohm}} Impedance=50ohm
  A5: Lumped Port Objects=Porta_A5 LumpedPortType=Modal Modes{Mode1{IntLine{(14.91580905, -23.94705831, -1.5) -> (15.97105905, -23.94705831, -1.5)} CharImp=Zpi RenormImp=50ohm}} Impedance=50ohm
  B_IN: Lumped Port Objects=Porta_B_IN LumpedPortType=Modal Modes{Mode1{IntLine{(0.45975, 19.25, -1.5) -> (1.515, 19.25, -1.5)} CharImp=Zpi RenormImp=50ohm}} Impedance=50ohm
  B1: Lumped Port Objects=Porta_B1 LumpedPortType=Modal Modes{Mode1{IntLine{(-13.99630905, 23.94705831, -1.5) -> (-12.94105905, 23.94705831, -1.5)} CharImp=Zpi RenormImp=50ohm}} Impedance=50ohm
  B2: Lumped Port Objects=Porta_B2 LumpedPortType=Modal Modes{Mode1{IntLine{(-8.47458583, 6.95294169, -1.5) -> (-7.41933583, 6.95294169, -1.5)} CharImp=Zpi RenormImp=50ohm}} Impedance=50ohm
  B3: Lumped Port Objects=Porta_B3 LumpedPortType=Modal Modes{Mode1{IntLine{(0.45975, 34.45, -1.5) -> (1.515, 34.45, -1.5)} CharImp=Zpi RenormImp=50ohm}} Impedance=50ohm
  B4: Lumped Port Objects=Porta_B4 LumpedPortType=Modal Modes{Mode1{IntLine{(9.39408583, 6.95294169, -1.5) -> (10.44933583, 6.95294169, -1.5)} CharImp=Zpi RenormImp=50ohm}} Impedance=50ohm
  B5: Lumped Port Objects=Porta_B5 LumpedPortType=Modal Modes{Mode1{IntLine{(14.91580905, 23.94705831, -1.5) -> (15.97105905, 23.94705831, -1.5)} CharImp=Zpi RenormImp=50ohm}} Impedance=50ohm
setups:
  Divisor: HfssDriven Frequency=5.17GHz MaxDeltaS=0.012 MaximumPasses=16 MinimumPasses=3 MinimumConvergedPasses=2 PercentRefinement=24 BasisOrder=1 PortAccuracy=2 DrivenSolverType="Direct Solver"
    sweep Banda: 5090MHz to 5250MHz step 10MHz; Type=Discrete
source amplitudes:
  A_IN:1: 1W 0deg
  A1:1, A2:1, A3:1, A4:1, A5:1, B_IN:1, B1:1, B2:1, B3:1, B4:1, B5:1: 0W 0deg
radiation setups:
  3D: Infinite Sphere Theta=0deg..180deg step 2deg Phi=-180deg..180deg step 2deg
  Elevation: Infinite Sphere Theta=-180deg..180deg step 1deg Phi=0deg..90deg step 90deg
  Azimuth: Infinite Sphere Theta=90deg..90deg step 0deg Phi=-180deg..180deg step 1deg
